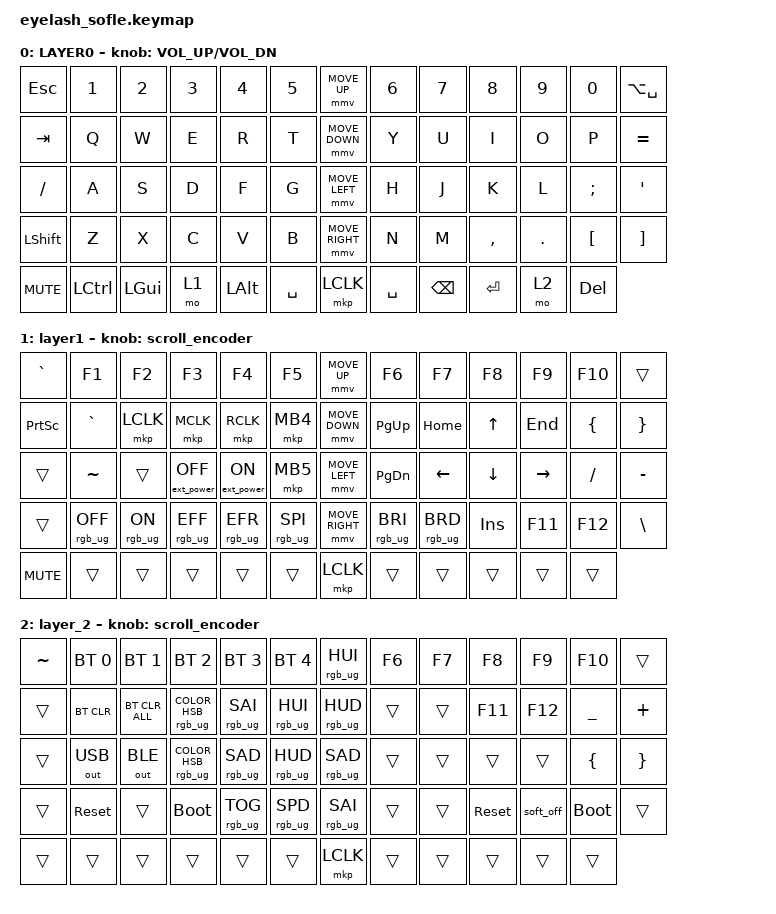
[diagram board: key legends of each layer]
#define ZMK_POINTING_DEFAULT_MOVE_VAL 1200  // 600
#define ZMK_POINTING_DEFAULT_SCRL_VAL 25   // 10

#include <input/processors.dtsi>
#include <zephyr/dt-bindings/input/input-event-codes.h>
#include <behaviors.dtsi>
#include <dt-bindings/zmk/bt.h>
#include <dt-bindings/zmk/ext_power.h>
#include <dt-bindings/zmk/keys.h>
#include <dt-bindings/zmk/outputs.h>
#include <dt-bindings/zmk/pointing.h>
#include <dt-bindings/zmk/rgb.h>

&mmv_input_listener { input-processors = <&zip_xy_scaler 2 1>; };

&msc_input_listener { input-processors = <&zip_scroll_scaler 2 1>; };

&msc {
    acceleration-exponent = <1>;      // 0
    time-to-max-speed-ms = <100>;       // 300
    delay-ms = <0>;                   // 0
};

&mmv {
    time-to-max-speed-ms = <500>;
    acceleration-exponent = <1>;
    trigger-period-ms = <16>;
};

/ {
    scroll_encoder: scroll_encoder {
        compatible = "zmk,behavior-sensor-rotate";
        #sensor-binding-cells = <0>;
        bindings = <&msc SCRL_DOWN>, <&msc SCRL_UP>;

        tap-ms = <100>;
    };

    combos { compatible = "zmk,combos"; };

    behaviors {
    };

    keymap {
        compatible = "zmk,keymap";

        layer0 {
            bindings = <
&kp ESC     &kp N1     &kp N2        &kp N3  &kp N4    &kp N5       &mmv MOVE_UP     &kp N6     &kp N7         &kp N8     &kp N9   &kp N0            &kp LA(SPACE)
&kp TAB     &kp Q      &kp W         &kp E   &kp R     &kp T        &mmv MOVE_DOWN   &kp Y      &kp U          &kp I      &kp O    &kp P             &kp EQUAL
&kp SLASH   &kp A      &kp S         &kp D   &kp F     &kp G        &mmv MOVE_LEFT   &kp H      &kp J          &kp K      &kp L    &kp SEMI          &kp APOS
&kp LSHFT   &kp Z      &kp X         &kp C   &kp V     &kp B        &mmv MOVE_RIGHT  &kp N      &kp M          &kp COMMA  &kp DOT  &kp LEFT_BRACKET  &kp RIGHT_BRACKET
&kp C_MUTE  &kp LCTRL  &kp LEFT_GUI  &mo 1   &kp LALT  &kp SPACE    &mkp LCLK        &kp SPACE  &kp BACKSPACE  &kp ENTER  &mo 2    &kp DELETE
            >;

            sensor-bindings = <&inc_dec_kp C_VOLUME_UP C_VOL_DN>;
            display-name = "LAYER0";
        };

        layer_1 {
            bindings = <
&kp GRAVE        &kp F1           &kp F2          &kp F3             &kp F4            &kp F5             &mmv MOVE_UP     &kp F6           &kp F7           &kp F8      &kp F9     &kp F10         &trans
&kp PRINTSCREEN  &kp GRAVE        &mkp LCLK       &mkp MCLK          &mkp RCLK         &mkp MB4           &mmv MOVE_DOWN   &kp PG_UP        &kp HOME         &kp UP      &kp END    &kp LEFT_BRACE  &kp RIGHT_BRACE
&trans           &kp TILDE        &trans          &ext_power EP_OFF  &ext_power EP_ON  &mkp MB5           &mmv MOVE_LEFT   &kp PG_DN        &kp LEFT         &kp DOWN    &kp RIGHT  &kp SLASH       &kp MINUS
&trans           &rgb_ug RGB_OFF  &rgb_ug RGB_ON  &rgb_ug RGB_EFF    &rgb_ug RGB_EFR   &rgb_ug RGB_SPI    &mmv MOVE_RIGHT  &rgb_ug RGB_BRI  &rgb_ug RGB_BRD  &kp INSERT  &kp F11    &kp F12         &kp BACKSLASH
&kp C_MUTE       &trans           &trans          &trans             &trans            &trans             &mkp LCLK        &trans           &trans           &trans      &trans     &trans
            >;

            display-name = "layer1";
            sensor-bindings = <&scroll_encoder>;
        };

        layer_2 {
            bindings = <
&kp TILDE  &bt BT_SEL 0  &bt BT_SEL 1    &bt BT_SEL 2                     &bt BT_SEL 3     &bt BT_SEL 4       &rgb_ug RGB_HUI  &kp F6  &kp F7  &kp F8      &kp F9     &kp F10      &trans
&trans     &bt BT_CLR    &bt BT_CLR_ALL  &rgb_ug RGB_COLOR_HSB(0,100,50)  &rgb_ug RGB_SAI  &rgb_ug RGB_HUI    &rgb_ug RGB_HUD  &trans  &trans  &kp F11     &kp F12    &kp UNDER    &kp PLUS
&trans     &out OUT_USB  &out OUT_BLE    &rgb_ug RGB_COLOR_HSB(0,0,100)   &rgb_ug RGB_SAD  &rgb_ug RGB_HUD    &rgb_ug RGB_SAD  &trans  &trans  &trans      &trans     &kp LBRC     &kp RBRC
&trans     &sys_reset    &trans          &bootloader                      &rgb_ug RGB_TOG  &rgb_ug RGB_SPD    &rgb_ug RGB_SAI  &trans  &trans  &sys_reset  &soft_off  &bootloader  &trans
&trans     &trans        &trans          &trans                           &trans           &trans             &mkp LCLK        &trans  &trans  &trans      &trans     &trans
            >;

            sensor-bindings = <&scroll_encoder>;
        };
    };
};
